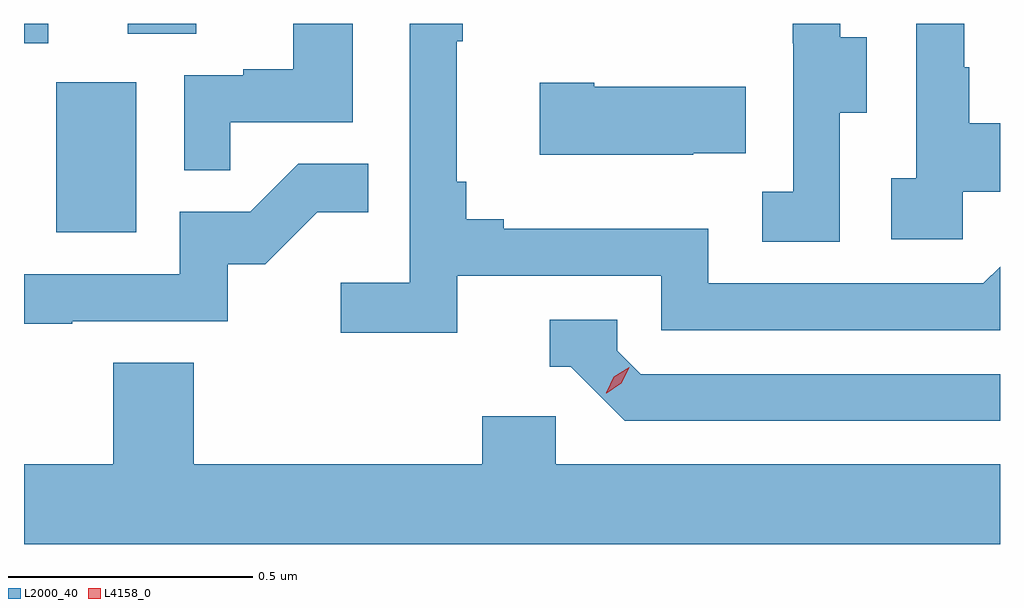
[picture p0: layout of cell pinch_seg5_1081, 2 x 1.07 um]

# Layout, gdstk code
import gdstk
lib = gdstk.Library(unit=1e-6, precision=1e-09)
def R(c, l, rs):  # rectangles x0, y0, x1, y1
    for r in rs: c.add(gdstk.rectangle(r[:2], r[2:], *l))
def P(c, l, *ps):  # polygons
    for p in ps: c.add(gdstk.Polygon(p, *l))
L2000_40 = (2000, 40)
L4158_0 = (4158, 0)

pinch_seg5_1081 = lib.new_cell('pinch_seg5_1081')
R(pinch_seg5_1081, L2000_40, [(824.66,858.732,824.824,859.039), (824.594,859.119,824.644,859.159), (824.807,859.138,824.947,859.159)])
P(pinch_seg5_1081, L2000_40, [(825.482,858.642),(825.9,858.642),(825.9,858.531),(826.594,858.531),(826.594,858.661),(826.56,858.627),(825.996,858.627),(825.996,858.739),(825.577,858.739),(825.577,858.758),(825.5,858.758),(825.5,858.835),(825.481,858.835),(825.481,859.123),(825.493,859.123),(825.493,859.159),(825.384,859.159),(825.384,858.628),(825.243,858.628),(825.243,858.526),(825.482,858.526)],
  [(825.017,858.957),(825.268,858.957),(825.268,859.159),(825.146,859.159),(825.146,859.066),(825.043,859.066),(825.043,859.053),(824.922,859.053),(824.922,858.859),(825.017,858.859)],
  [(826.266,858.976),(826.321,858.976),(826.321,859.131),(826.267,859.131),(826.267,859.159),(826.169,859.159),(826.169,859.119),(826.17,859.119),(826.17,858.815),(826.107,858.815),(826.107,858.712),(826.266,858.712)],
  [(826.518,858.815),(826.594,858.815),(826.594,858.955),(826.531,858.955),(826.531,859.07),(826.521,859.07),(826.521,859.159),(826.422,859.159),(826.422,858.842),(826.371,858.842),(826.371,858.717),(826.518,858.717)],
  [(825.965,858.893),(826.073,858.893),(826.073,859.03),(825.763,859.03),(825.763,859.038),(825.651,859.038),(825.651,858.89),(825.965,858.89)],
  [(824.693,858.549),(825.012,858.549),(825.012,858.666),(825.088,858.666),(825.195,858.773),(825.299,858.773),(825.299,858.872),(825.156,858.872),(825.058,858.774),(824.913,858.774),(824.913,858.645),(824.594,858.645),(824.594,858.544),(824.693,858.544)],
  [(826.594,858.441),(825.858,858.441),(825.81,858.489),(825.81,858.552),(825.671,858.552),(825.671,858.456),(825.714,858.456),(825.825,858.345),(826.594,858.345)],
  [(826.594,858.256),(825.684,858.256),(825.684,858.354),(825.533,858.354),(825.533,858.256),(824.942,858.256),(824.942,858.464),(824.777,858.464),(824.777,858.256),(824.594,858.256),(824.594,858.092),(826.594,858.092)])
P(pinch_seg5_1081, L4158_0, [(825.787,858.402),(825.787,858.403),(825.803,858.435),(825.834,858.455),(825.834,858.455),(825.834,858.454),(825.818,858.422),(825.788,858.402)])

lib.write_gds('pinch_seg5_1081.gds')
